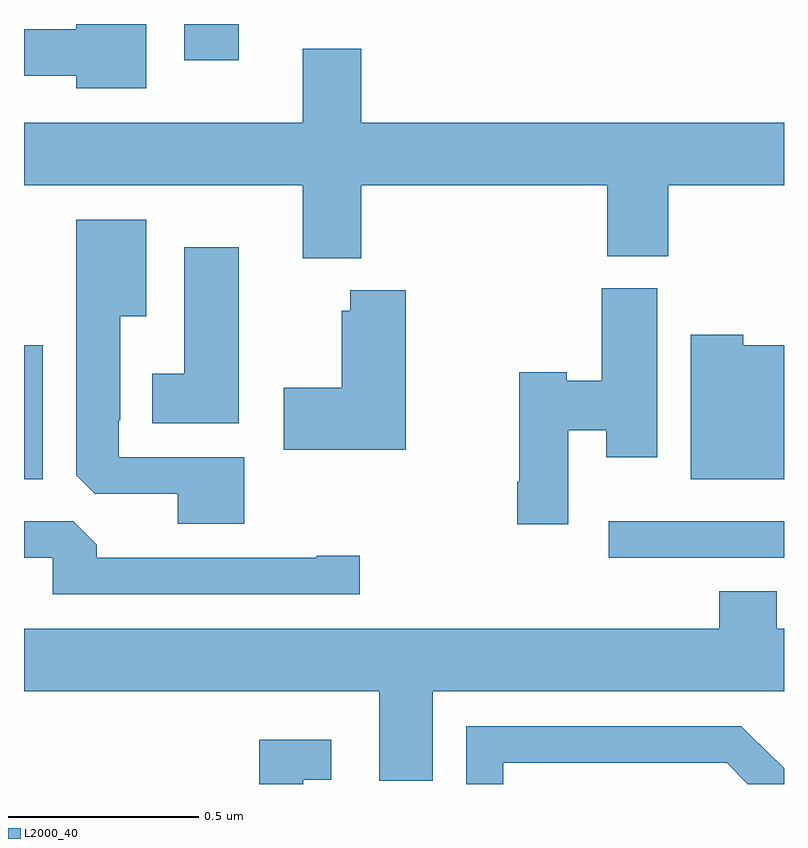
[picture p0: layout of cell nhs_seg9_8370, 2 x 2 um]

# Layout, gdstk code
import gdstk
lib = gdstk.Library(unit=1e-6, precision=1e-09)
def R(c, l, rs):  # rectangles x0, y0, x1, y1
    for r in rs: c.add(gdstk.rectangle(r[:2], r[2:], *l))
def P(c, l, *ps):  # polygons
    for p in ps: c.add(gdstk.Polygon(p, *l))
L2000_40 = (2000, 40)

nhs_seg9_8370 = lib.new_cell('nhs_seg9_8370')
R(nhs_seg9_8370, L2000_40, [(217.539,1206.096,218,1206.192), (216,1206.302,216.049,1206.655), (216.422,1207.404,216.565,1207.5)])
P(nhs_seg9_8370, L2000_40, [(216.322,1207.5),(216.137,1207.5),(216.137,1207.486),(216,1207.486),(216,1207.364),(216.137,1207.364),(216.137,1207.331),(216.322,1207.331)],
  [(216.887,1207.076),(217.535,1207.076),(217.535,1206.889),(217.695,1206.889),(217.695,1207.076),(218,1207.076),(218,1207.24),(216.887,1207.24),(216.887,1207.435),(216.734,1207.435),(216.734,1207.24),(216,1207.24),(216,1207.076),(216.734,1207.076),(216.734,1206.884),(216.887,1206.884)],
  [(216.58,1206.36),(216.249,1206.36),(216.249,1206.457),(216.253,1206.457),(216.253,1206.731),(216.322,1206.731),(216.322,1206.985),(216.137,1206.985),(216.137,1206.313),(216.186,1206.264),(216.404,1206.264),(216.404,1206.185),(216.58,1206.185)],
  [(216.565,1206.913),(216.422,1206.913),(216.422,1206.58),(216.338,1206.58),(216.338,1206.449),(216.565,1206.449)],
  [(217.432,1206.431),(217.532,1206.431),(217.532,1206.36),(217.666,1206.36),(217.666,1206.804),(217.52,1206.804),(217.52,1206.561),(217.428,1206.561),(217.428,1206.584),(217.303,1206.584),(217.303,1206.295),(217.298,1206.295),(217.298,1206.183),(217.432,1206.183)],
  [(217.004,1206.799),(216.859,1206.799),(216.859,1206.745),(216.836,1206.745),(216.836,1206.543),(216.684,1206.543),(216.684,1206.38),(217.004,1206.38)],
  [(218,1206.655),(217.893,1206.655),(217.893,1206.682),(217.754,1206.682),(217.754,1206.302),(218,1206.302)],
  [(216.883,1206.101),(216.77,1206.101),(216.77,1206.096),(216.191,1206.096),(216.191,1206.13),(216.129,1206.192),(216,1206.192),(216,1206.096),(216.075,1206.096),(216.075,1206),(216.883,1206)],
  [(217.829,1206.007),(217.829,1205.908),(216,1205.908),(216,1205.744),(216.935,1205.744),(216.935,1205.509),(217.075,1205.509),(217.075,1205.744),(218,1205.744),(218,1205.908),(217.981,1205.908),(217.981,1206.007)],
  [(217.261,1205.556),(217.849,1205.556),(217.905,1205.5),(218,1205.5),(218,1205.542),(217.98,1205.562),(217.979,1205.561),(217.888,1205.652),(217.164,1205.652),(217.164,1205.5),(217.261,1205.5)],
  [(216.735,1205.511),(216.808,1205.511),(216.808,1205.617),(216.619,1205.617),(216.619,1205.5),(216.735,1205.5)])

lib.write_gds('nhs_seg9_8370.gds')
